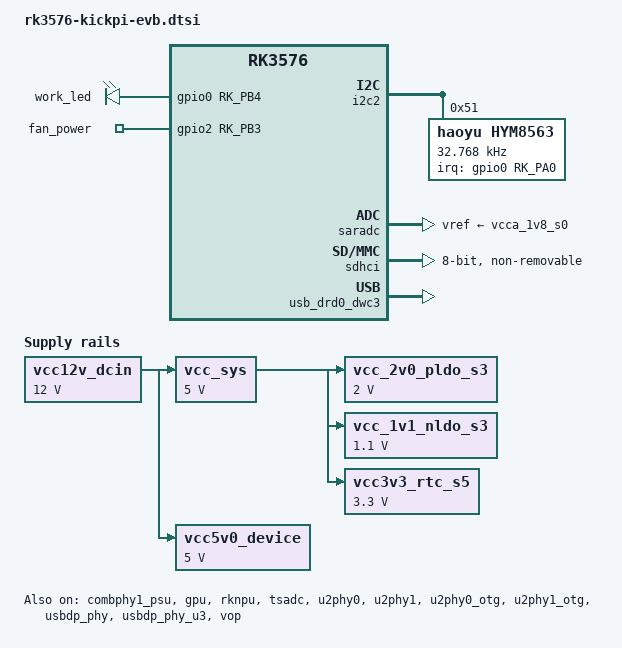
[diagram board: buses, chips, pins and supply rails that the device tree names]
// SPDX-License-Identifier: (GPL-2.0+ OR MIT)
/*
 * Copyright (c) 2024 Rockchip Electronics Co., Ltd.
 *
 */

#include <dt-bindings/gpio/gpio.h>
#include <dt-bindings/pwm/pwm.h>
#include <dt-bindings/pinctrl/rockchip.h>
#include <dt-bindings/input/rk-input.h>
#include <dt-bindings/display/drm_mipi_dsi.h>
#include <dt-bindings/display/rockchip_vop.h>
#include <dt-bindings/sensor-dev.h>
#include "rk3576-evb-input-keymap.dtsi"

/ {
	adc_keys: adc-keys {
		compatible = "adc-keys";
		status = "disabled";
		io-channels = <&saradc 1>;
		io-channel-names = "buttons";
		keyup-threshold-microvolt = <1800000>;
		poll-interval = <100>;

		vol-up-key {
			label = "volume up";
			linux,code = <KEY_VOLUMEUP>;
			press-threshold-microvolt = <17000>;
		};

		vol-down-key {
			label = "volume down";
			linux,code = <KEY_VOLUMEDOWN>;
			press-threshold-microvolt = <417000>;
		};

		menu-key {
			label = "menu";
			linux,code = <KEY_MENU>;
			press-threshold-microvolt = <890000>;
		};

		back-key {
			label = "back";
			linux,code = <KEY_BACK>;
			press-threshold-microvolt = <1235000>;
		};
	};

	dp0_sound: dp0-sound {
		status = "disabled";
		compatible = "rockchip,hdmi";
		rockchip,mclk-fs = <512>;
		rockchip,card-name = "rockchip-dp0";
		rockchip,cpu = <&spdif_tx3>;
		rockchip,codec = <&dp0 1>;
		rockchip,jack-det;
	};

	dp1_sound: dp1-sound {
		status = "disabled";
		compatible = "rockchip,hdmi";
		rockchip,mclk-fs = <512>;
		rockchip,card-name = "rockchip-dp1";
		rockchip,cpu = <&spdif_tx3>;
		rockchip,codec = <&dp1 1>;
		rockchip,jack-det;
	};

	dp2_sound: dp2-sound {
		status = "disabled";
		compatible = "rockchip,hdmi";
		rockchip,mclk-fs = <512>;
		rockchip,card-name = "rockchip-dp2";
		rockchip,cpu = <&spdif_tx3>;
		rockchip,codec = <&dp2 1>;
		rockchip,jack-det;
	};

	edp_sound: edp-sound {
		status = "disabled";
		compatible = "rockchip,hdmi";
		rockchip,mclk-fs = <128>;
		rockchip,card-name = "rockchip-edp";
		rockchip,cpu = <&sai6>;
		rockchip,codec = <&edp 0>;
	};

	hdmi_sound: hdmi-sound {
		status = "disabled";
		compatible = "rockchip,hdmi";
		rockchip,mclk-fs = <128>;
		rockchip,card-name = "rockchip-hdmi";
		rockchip,cpu = <&sai6>;
		rockchip,codec = <&hdmi>;
		rockchip,jack-det;
	};

	leds: leds {
		compatible = "gpio-leds";

		work_led: work {
			gpios = <&gpio0 RK_PB4 GPIO_ACTIVE_HIGH>;
			linux,default-trigger = "heartbeat";
		};

    	fan_power: fan {
			gpios = <&gpio2 RK_PB3 GPIO_ACTIVE_HIGH>;
			default-state = "on";
		};

		/* PHASE1: PCIe 未启用 */
		PCIE_PWREN: gpio0-b0 {
			label = "PCIE_PWREN";
			gpios = <&gpio0 RK_PB0 GPIO_ACTIVE_HIGH>;
			default-state = "off";
			status = "disabled";
		};

		// // 0-14
		// SDMMC0_PWREN: gpio0-b6 {
		// 	label = "SDMMC0_PWREN";
		// 	gpios = <&gpio0 RK_PB6 GPIO_ACTIVE_HIGH>;
		// 	default-state = "on";
		// };
	};

	test-power {
		status = "disabled";
	};

	vcc12v_dcin: vcc12v-dcin {
		compatible = "regulator-fixed";
		regulator-name = "vcc12v_dcin";
		regulator-always-on;
		regulator-boot-on;
		regulator-min-microvolt = <12000000>;
		regulator-max-microvolt = <12000000>;
	};

	vcc_sys: vcc5v0-sys {
		compatible = "regulator-fixed";
		regulator-name = "vcc_sys";
		regulator-always-on;
		regulator-boot-on;
		regulator-min-microvolt = <5000000>;
		regulator-max-microvolt = <5000000>;
		vin-supply = <&vcc12v_dcin>;
	};

	vcc5v0_device: vcc5v0-device {
		compatible = "regulator-fixed";
		regulator-name = "vcc5v0_device";
		regulator-always-on;
		regulator-boot-on;
		regulator-min-microvolt = <5000000>;
		regulator-max-microvolt = <5000000>;
		vin-supply = <&vcc12v_dcin>;
	};

	vcc_2v0_pldo_s3: vcc-2v0-pldo-s3 {
		compatible = "regulator-fixed";
		regulator-name = "vcc_2v0_pldo_s3";
		regulator-boot-on;
		regulator-always-on;
		regulator-min-microvolt = <2000000>;
		regulator-max-microvolt = <2000000>;
		vin-supply = <&vcc_sys>;
	};

	vcc_1v1_nldo_s3: vcc-1v1-nldo-s3 {
		compatible = "regulator-fixed";
		regulator-name = "vcc_1v1_nldo_s3";
		regulator-boot-on;
		regulator-always-on;
		regulator-min-microvolt = <1100000>;
		regulator-max-microvolt = <1100000>;
		vin-supply = <&vcc_sys>;
	};

	vcc3v3_rtc_s5: vcc3v3-rtc-s5 {
		compatible = "regulator-fixed";
		regulator-name = "vcc3v3_rtc_s5";
		regulator-boot-on;
		regulator-always-on;
		regulator-min-microvolt = <3300000>;
		regulator-max-microvolt = <3300000>;
		vin-supply = <&vcc_sys>;
	};

};

&combphy0_ps {
	/* PHASE1: PCIe 未启用，combphy0 留给 PCIe */
	status = "disabled";
};

&combphy1_psu {
	status = "okay";
};

&cpu_l0 {
	cpu-supply = <&vdd_cpu_lit_s0>;
};

&cpu_b0 {
	cpu-supply = <&vdd_cpu_big_s0>;
};

&crypto {
	status = "disabled";
};

&display_subsystem {
	clocks = <&hdptxphy_hdmi>;
	clock-names = "hdmi0_phy_pll";
};


&gpu {
	mali-supply = <&vdd_gpu_s0>;
	status = "okay";
};


&i2c2 {
	status = "okay";

	hym8563: hym8563@51 {
		compatible = "haoyu,hym8563";
		reg = <0x51>;
		#clock-cells = <0>;
		clock-frequency = <32768>;
		clock-output-names = "hym8563";
		pinctrl-names = "default";
		pinctrl-0 = <&hym8563_int>;
		interrupt-parent = <&gpio0>;
		interrupts = <RK_PA0 IRQ_TYPE_LEVEL_LOW>;
		wakeup-source;
	};
};

&iep {
	status = "disabled";
};

&iep_mmu {
	status = "disabled";
};

&jpegd {
	status = "disabled";
};

&jpege {
	status = "disabled";
};

&jpeg_mmu {
	status = "disabled";
};

&mpp_srv {
	status = "disabled";
};

&pinctrl {
	hym8563 {
		hym8563_int: hym8563-int {
			rockchip,pins = <0 RK_PA0 RK_FUNC_GPIO &pcfg_pull_up>;
		};
	};
};


&rga2_core0 {
	status = "disabled";
};

&rga2_core0_mmu {
	status = "disabled";
};

&rga2_core1 {
	status = "disabled";
};

&rga2_core1_mmu {
	status = "disabled";
};

&rknpu {
	rknpu-supply = <&vdd_npu_s0>;
	status = "okay";
};

&rknpu_mmu {
	status = "okay";
};

&rkvenc_ccu {
	status = "disabled";
};

&rkvenc0 {
	status = "disabled";
};

&rkvenc0_mmu {
	status = "disabled";
};

&rkvenc1 {
	status = "disabled";
};

&rkvenc1_mmu {
	status = "disabled";
};

&rkvdec {
	status = "disabled";
};

&rkvdec_mmu {
	status = "disabled";
};

&rockchip_suspend {
	status = "okay";
	rockchip,sleep-debug-en = <1>;

	rockchip,sleep-io-ret-config = <
		(0
		| RKPM_VCCIO3_RET_EN
		)
	>;

	rockchip,regulator-on-before-mem = <&vdd_npu_s0>;
};

&sai6 {
	status = "disabled";
};

&saradc {
	status = "okay";
	vref-supply = <&vcca_1v8_s0>;
};

&sdhci {
	bus-width = <8>;
	no-sdio;
	no-sd;
	non-removable;
	max-frequency = <200000000>;
	mmc-hs400-1_8v;
	mmc-hs400-enhanced-strobe;
	full-pwr-cycle-in-suspend;
	status = "okay";
};

&sdmmc {
	max-frequency = <200000000>;
	no-sdio;
	no-mmc;
	bus-width = <4>;
	cap-mmc-highspeed;
	cap-sd-highspeed;
	disable-wp;
	sd-uhs-sdr104;
	vqmmc-supply = <&vccio_sd_s0>;
	status = "disabled";
};

&tsadc {
	status = "okay";
};

&u2phy0 {
	status = "okay";
};

&u2phy1 {
	status = "okay";
};

&u2phy0_otg {
	status = "okay";
};

&u2phy1_otg {
	status = "okay";
};

&usbdp_phy {
	status = "okay";
};

&usbdp_phy_dp {
	status = "disabled";
};

&usbdp_phy_u3 {
	status = "okay";
};

&usb_drd0_dwc3 {
	status = "okay";
};

&vdpp {
	status = "disabled";
};

&vop {
	status = "okay";
	vop-supply = <&vdd_logic_s0>;
};

&vop_mmu {
	status = "okay";
};

&vp2 {
	assigned-clocks = <&cru DCLK_VP2_SRC>;
	assigned-clock-parents = <&cru PLL_VPLL>;
};
